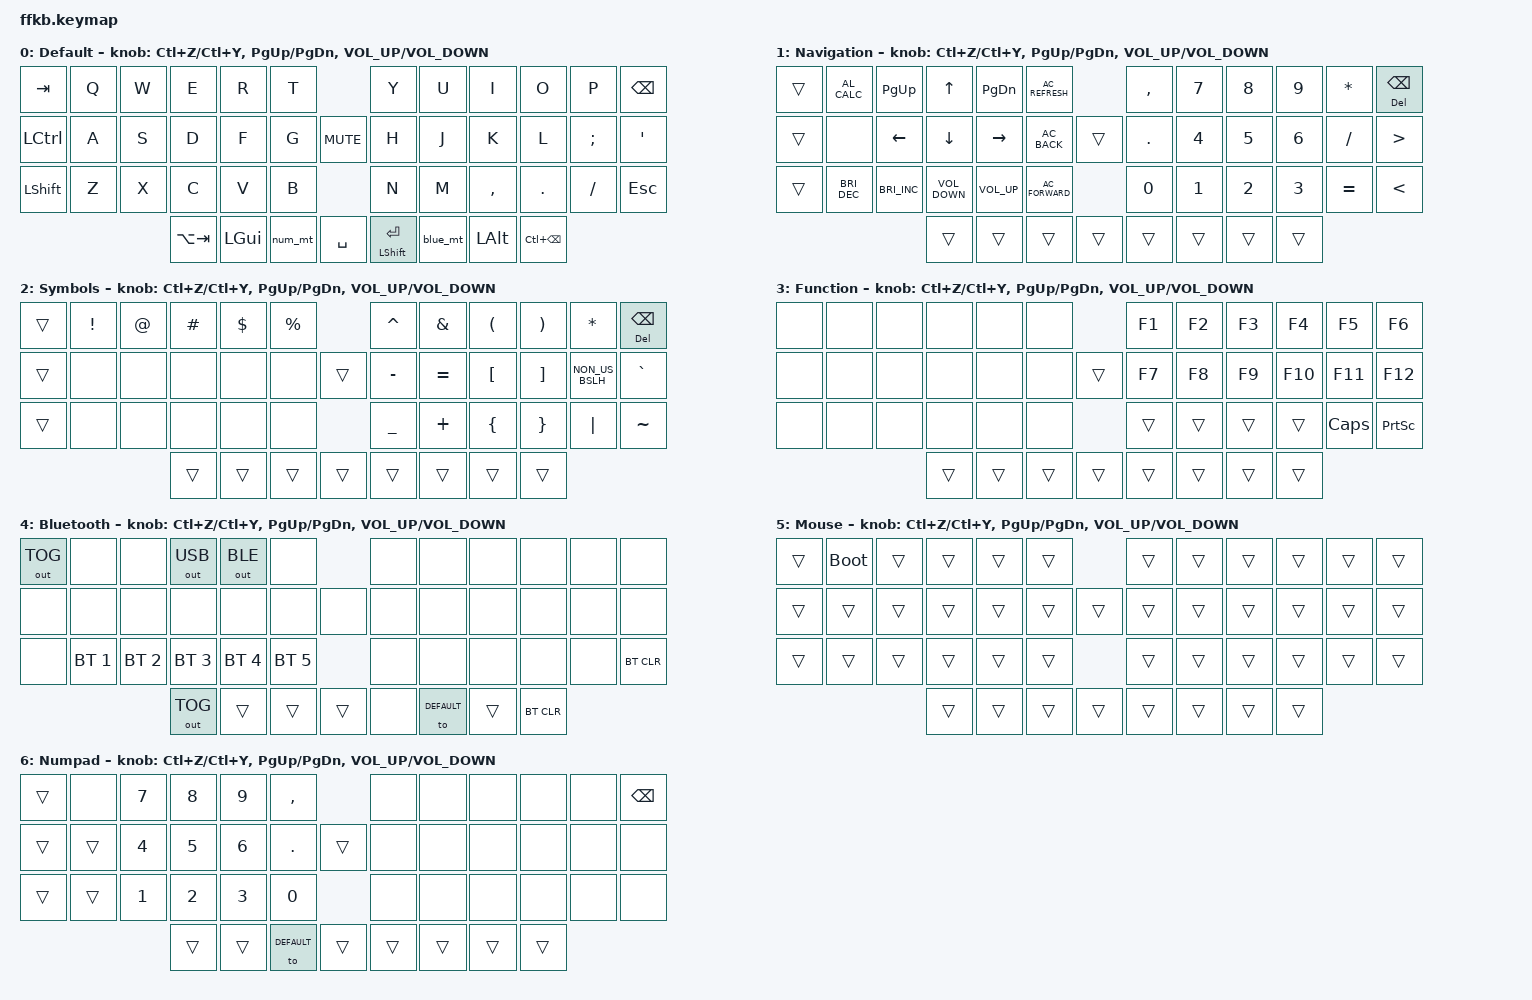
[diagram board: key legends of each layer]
#include <behaviors.dtsi>
#include <dt-bindings/zmk/keys.h>
#include <dt-bindings/zmk/rgb.h>
#include <dt-bindings/zmk/bt.h>
#include <dt-bindings/zmk/ext_power.h>
#include <dt-bindings/zmk/outputs.h>

#define DEFAULT 0
#define NAV     1
#define SYM     2
#define FUNC    3
#define BLUET   4
#define MOUSE   5
#define NUM     6


#define U_RDO &kp LC(Y)
#define U_PST &kp LC(V)
#define U_CPY &kp LC(C)
#define U_CUT &kp LC(X)
#define U_UND &kp LC(Z)

&caps_word {
    continue-list = <UNDERSCORE MINUS>;
};

/ {
    combos {
        compatible = "zmk,combos";
        combo_undo {
            timeout-ms = <50>;
            key-positions = <26 27>;
            bindings = <&kp LC(Z)>;
        };
        combo_q {
            timeout-ms = <50>;
            key-positions = <27 28>;
            bindings = <&kp Q>;
        };
        combo_semicolon {
            timeout-ms = <50>;
            key-positions = <33 34>;
            bindings = <&kp SEMI>;
        };
    };
};

/ {

    sensors {
        compatible = "zmk,keymap-sensors";
        sensors = <&encoder_1 &encoder_2 &encoder_3>;
    };

    conditional_layers {
        compatible = "zmk,conditional-layers";
        tri_layer {
            if-layers = <NAV SYM>;
            then-layer = <FUNC>;
        };
    };

    behaviors {
        hm: homerow_mods {
            compatible = "zmk,behavior-hold-tap";
            label = "HOMEROW_MODS";
            #binding-cells = <2>;
            tapping-term-ms = <200>;
            quick_tap_ms = <125>;
            global-quick-tap;
            flavor = "balanced";
            bindings = <&kp>, <&kp>;
        };
        hs: homerow_shift {
            compatible = "zmk,behavior-hold-tap";
            label = "HOMEROW_MODS";
            #binding-cells = <2>;
            tapping-term-ms = <175>;
            quick_tap_ms = <0>;
            flavor = "balanced";
            bindings = <&kp>, <&kp>;
        };
        num_mt: numpad_mod_tap {
            compatible = "zmk,behavior-tap-dance";
            label = "TAP_DANCE_NUMPAD";
            #binding-cells = <0>;
            #flavor = "hold-preferred";
            tapping-term-ms = <200>;
            bindings = <&mo NAV>, <&to NUM>;
        };
        blue_mt: bluetooth_mod_tap {
            compatible = "zmk,behavior-tap-dance";
            label = "TAP_DANCE_BLUETOOTH";
            #binding-cells = <0>;
            #flavor = "hold-preferred";
            tapping-term-ms = <200>;
            bindings = <&mo SYM>, <&to BLUET>;
        };
        dlt: delete_hold_tap {
            compatible = "zmk,behavior-hold-tap";
            label = "TAP_DANCE_DELETE";
            #binding-cells = <2>;
            flavor = "tap-preferred";
            tapping-term-ms = <200>;
            bindings = <&kp>, <&kp>;
        };
    };

    keymap {
        compatible = "zmk,keymap";

        default_layer {
            label = "Default";

            sensor-bindings = <&inc_dec_kp LC(Z) LC(Y) &inc_dec_kp PAGE_UP PAGE_DOWN &inc_dec_kp C_VOLUME_UP C_VOLUME_DOWN >;

            bindings = <
    &kp TAB        &kp Q       &kp W        &kp E       &kp R         &kp T                                       &kp Y            &kp U         &kp I         &kp O       &kp P         &kp BSPC
    &kp LCTL       &kp A       &kp S        &kp D       &kp F         &kp G            &kp C_MUTE                &kp H            &kp J         &kp K         &kp L       &kp SEMI      &kp SQT
    &kp LSHIFT     &kp Z       &kp X        &kp C       &kp V         &kp B                                       &kp N            &kp M         &kp COMMA     &kp DOT     &kp FSLH      &kp ESC
                                            &kp LA(TAB)  &kp LGUI      &num_mt  &kp SPACE       &mt LSHIFT RET    &blue_mt       &kp LALT      &kp LC(BSPC)

            >;
        };

        nav_layer {
            label = "Navigation";

            sensor-bindings = <&inc_dec_kp LC(Z) LC(Y) &inc_dec_kp PAGE_UP PAGE_DOWN &inc_dec_kp C_VOLUME_UP C_VOLUME_DOWN >;

            bindings = <
    &trans      &kp C_AL_CALC    &kp PAGE_UP     &kp UP             &kp PAGE_DOWN        &kp C_AC_REFRESH                                  &kp COMMA      &kp N7          &kp N8       &kp N9     &kp ASTRK      &dlt DELETE BSPC
    &trans      &none         &kp LEFT        &kp DOWN           &kp RIGHT            &kp C_AC_BACK               &trans                &kp DOT     &kp N4          &kp N5       &kp N6     &kp FSLH       &kp GT
    &trans      &kp C_BRI_DEC &kp C_BRI_INC   &kp C_VOLUME_DOWN  &kp C_VOLUME_UP      &kp C_AC_FORWARD                                  &kp N0        &kp N1          &kp N2       &kp N3     &kp EQUAL      &kp LT
                                              &trans             &trans               &trans          &trans              &trans     &trans        &trans          &trans
            >;
        };

        sym_layer {
            label = "Symbols";

            sensor-bindings = <&inc_dec_kp LC(Z) LC(Y) &inc_dec_kp PAGE_UP PAGE_DOWN &inc_dec_kp C_VOLUME_UP C_VOLUME_DOWN >;

            bindings = <
    &trans      &kp EXCL      &kp AT        &kp HASH        &kp DLLR         &kp PRCNT                                   &kp CARET        &kp AMPS        &kp LPAR       &kp RPAR     &kp ASTRK          &dlt DELETE BSPC
    &trans      &none        &none        &none           &none            &none                &trans                &kp MINUS        &kp EQUAL       &kp LBKT       &kp RBKT     &kp NON_US_BSLH    &kp GRAVE
    &trans      &none        &none        &none           &none            &none                                       &kp UNDER        &kp PLUS        &kp LBRC       &kp RBRC     &kp PIPE           &kp TILDE
                                            &trans          &trans           &trans        &trans         &trans       &trans           &trans          &trans
            >;
        };

        func_layer {
            label = "Function";

            sensor-bindings = <&inc_dec_kp LC(Z) LC(Y) &inc_dec_kp PAGE_UP PAGE_DOWN &inc_dec_kp C_VOLUME_UP C_VOLUME_DOWN >;

            bindings = <
    &none     &none       &none       &none             &none           &none                                      &kp F1        &kp F2        &kp F3        &kp F4        &kp F5       &kp F6
    &none     &none        &none      &none             &none           &none               &trans                 &kp F7        &kp F8        &kp F9        &kp F10       &kp F11      &kp F12
    &none     &none       &none       &none             &none           &none                                    &trans        &trans        &trans        &trans        &kp CAPS     &kp PSCRN
                                         &trans             &trans           &trans        &trans         &trans         &trans        &trans        &trans
            >;
        };

        bluet_layer {
            label = "Bluetooth";

            sensor-bindings = <&inc_dec_kp LC(Z) LC(Y) &inc_dec_kp PAGE_UP PAGE_DOWN &inc_dec_kp C_VOLUME_UP C_VOLUME_DOWN >;

            bindings = <
    &out OUT_TOG   &none   &none     &out OUT_USB   &out OUT_BLE   &none                            &none              &none     &none     &none     &none     &none    &none
    &none          &none             &none          &none          &none          &none                                &none     &none     &none     &none     &none    &none 
    &none          &bt BT_SEL 1      &bt BT_SEL 2   &bt BT_SEL 3   &bt BT_SEL 4   &bt BT_SEL 5                         &none     &none     &none     &none     &none    &bt BT_CLR
                                     &out OUT_TOG          &trans            &trans        &trans         &none             &to DEFAULT    &trans    &bt BT_CLR
            >;
        };

        mouse_layer {
            label = "Mouse";

            sensor-bindings = <&inc_dec_kp LC(Z) LC(Y) &inc_dec_kp PAGE_UP PAGE_DOWN &inc_dec_kp C_VOLUME_UP C_VOLUME_DOWN >;

            bindings = <
    &trans     &bootloader &trans      &trans      &trans      &trans                                           &trans      &trans      &trans      &trans      &trans      &trans
    &trans     &trans      &trans      &trans      &trans      &trans                   &trans                  &trans      &trans      &trans      &trans      &trans      &trans
    &trans     &trans      &trans      &trans      &trans      &trans                                           &trans      &trans      &trans      &trans      &trans      &trans
                                         &trans      &trans        &trans        &trans         &trans          &trans      &trans      &trans
            >;
        };

        num_layer {
            label = "Numpad";

            sensor-bindings = <&inc_dec_kp LC(Z) LC(Y) &inc_dec_kp PAGE_UP PAGE_DOWN &inc_dec_kp C_VOLUME_UP C_VOLUME_DOWN >;

            bindings = <
    &trans     &none       &kp N7        &kp N8        &kp N9        &kp COMMA                                      &none     &none     &none     &none     &none    &kp BSPC
    &trans     &trans       &kp N4        &kp N5        &kp N6        &kp DOT                &trans                &none     &none     &none     &none     &none    &none
    &trans     &trans       &kp N1        &kp N2        &kp N3        &kp N0                                      &none     &none     &none     &none     &none    &none
                                          &trans        &trans        &to DEFAULT     &trans         &trans       &trans      &trans      &trans
            >;
        };
    };
};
